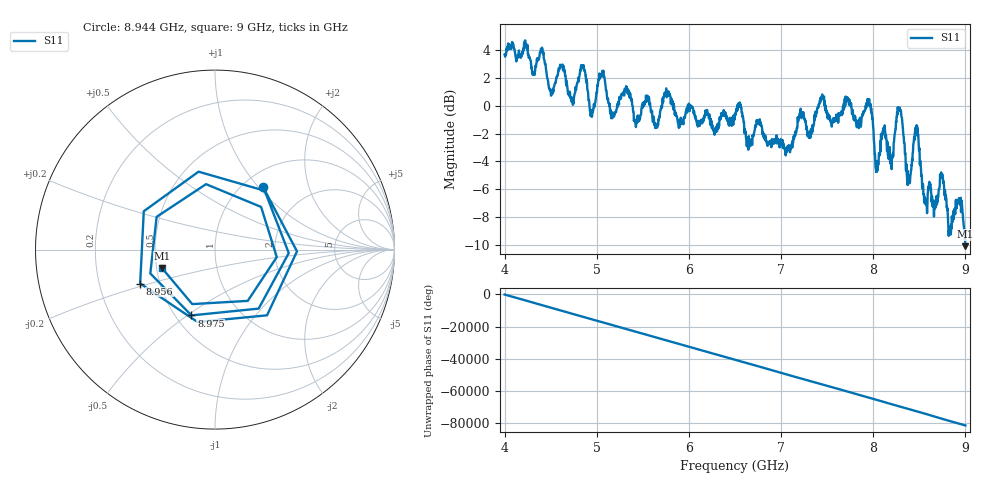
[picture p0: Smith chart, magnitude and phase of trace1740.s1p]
! Created with skrf 1.8.0 (http://scikit-rf.org).
# Hz S RI R 50.0
!freq ReS11 ImS11
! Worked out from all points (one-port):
!   1601 points, 4 GHz to 9 GHz, reference 50 ohm
!   lowest |S11| = -10.1 dB at 9 GHz (marker M1), VSWR 1.91, Z = 26.7 - j6.07 ohm
!   |S11| at or under -10 dB: 8.999384 GHz to end of sweep
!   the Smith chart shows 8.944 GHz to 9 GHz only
!   S11 on the Smith chart (normalised r, x): 8.944 GHz: 1.22, +1.06; 8.956 GHz: 0.39, -0.18; 8.975 GHz: 0.60, -0.52; 9 GHz: 0.53, -0.12
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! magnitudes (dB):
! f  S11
! 4 GHz  3.7
! 4.406 GHz  4.2
! 4.506 GHz  0.8
! 4.625 GHz  2.8
! 4.738 GHz  0.3
! 4.853 GHz  2.8
! 4.947 GHz  -0.8
! 5.053 GHz  2.3
! 5.169 GHz  -0.9
! 5.25 GHz  0.5
! 5.875 GHz  -0.9
! 6.5 GHz  -0.6
! 7.125 GHz  -2.5
! 7.441 GHz  0.7
! 7.75 GHz  0.2
! 7.959 GHz  0.0
! 8.041 GHz  -4.0
! 8.109 GHz  -1.6
! 8.197 GHz  -4.3
! 8.288 GHz  -0.1
! 8.375 GHz  -4.7
! 8.466 GHz  -1.5
! 8.562 GHz  -6.8
! 8.838 GHz  -8.6
! 8.944 GHz  -7.1
! 8.956 GHz  -6.8
! 8.975 GHz  -8.2
! 9 GHz  -10.1
